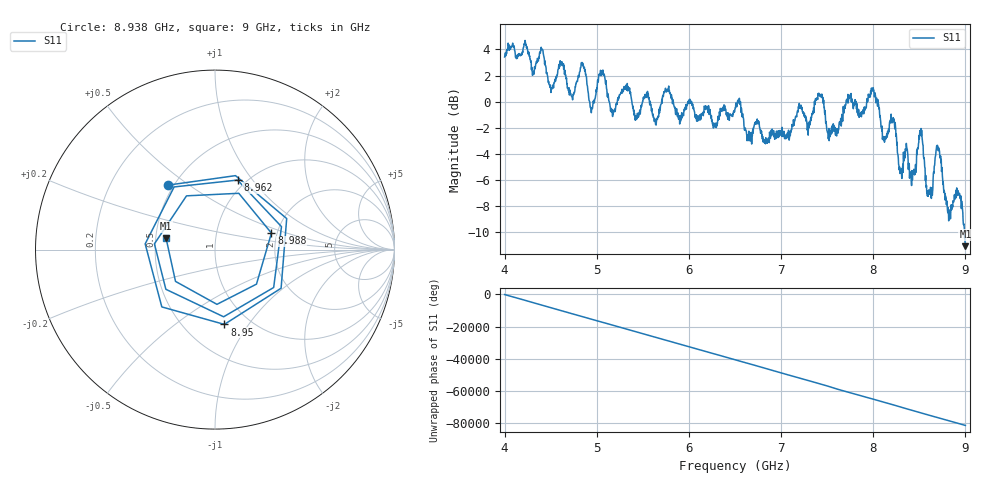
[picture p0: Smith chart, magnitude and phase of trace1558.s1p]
! Created with skrf 1.8.0 (http://scikit-rf.org).
# Hz S RI R 50.0
!freq ReS11 ImS11
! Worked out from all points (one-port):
!   1601 points, 4 GHz to 9 GHz, reference 50 ohm
!   lowest |S11| = -11.1 dB at 9 GHz (marker M1), VSWR 1.78, Z = 28.4 + j3.92 ohm
!   |S11| at or under -10 dB: 8.989236 GHz to end of sweep
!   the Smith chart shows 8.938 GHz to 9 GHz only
!   S11 on the Smith chart (normalised r, x): 8.938 GHz: 0.47, +0.42; 8.95 GHz: 0.77, -0.78; 8.962 GHz: 0.91, +0.85; 8.988 GHz: 1.87, +0.38; 9 GHz: 0.57, +0.08
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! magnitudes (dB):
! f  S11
! 4 GHz  3.4
! 4.625 GHz  2.9
! 4.728 GHz  0.4
! 4.85 GHz  2.9
! 4.941 GHz  -0.8
! 5.047 GHz  2.4
! 5.25 GHz  0.5
! 5.875 GHz  -1.1
! 6.5 GHz  -0.5
! 7.125 GHz  -1.8
! 7.425 GHz  0.5
! 7.603 GHz  -2.6
! 7.75 GHz  0.3
! 7.997 GHz  1.1
! 8.119 GHz  -2.7
! 8.219 GHz  -1.3
! 8.3 GHz  -5.3
! 8.375 GHz  -4.0
! 8.441 GHz  -5.2
! 8.516 GHz  -2.4
! 8.606 GHz  -6.8
! 8.7 GHz  -3.4
! 8.812 GHz  -8.1
! 8.938 GHz  -7.0
! 8.95 GHz  -7.5
! 8.962 GHz  -7.8
! 8.988 GHz  -9.7
! 9 GHz  -11.1
